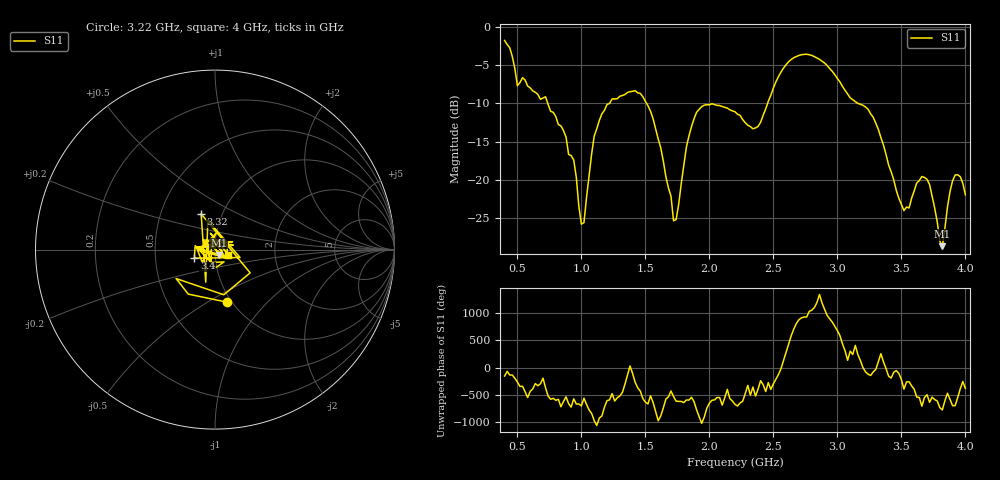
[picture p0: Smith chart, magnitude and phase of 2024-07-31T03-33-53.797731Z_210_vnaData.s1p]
!Created with skrf (http://scikit-rf.org).
# Hz S RI R 50.0
!freq ReS11 ImS11
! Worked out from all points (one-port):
!   181 points, 400 MHz to 4 GHz, reference 50 ohm
!   lowest |S11| = -28.7 dB at 3.82 GHz (marker M1), VSWR 1.08, Z = 52.1 - j3.1 ohm
!   |S11| at or under -10 dB: 737.1 MHz to 1.219 GHz (482.2 MHz wide, 49.3 % of centre); 1.51 GHz to 2.454 GHz (944.7 MHz wide, 47.7 % of centre); 3.163 GHz to end of sweep
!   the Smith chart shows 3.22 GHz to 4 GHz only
!   S11 on the Smith chart (normalised r, x): 3.22 GHz: 0.95, -0.61; 3.32 GHz: 0.80, +0.33; 3.4 GHz: 0.79, -0.08; 4 GHz: 1.16, -0.07
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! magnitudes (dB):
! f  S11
! 400 MHz  -1.7
! 500 MHz  -7.7
! 720 MHz  -9.1
! 860 MHz  -13.6
! 940 MHz  -17.4
! 1 GHz  -25.8
! 1.02 GHz  -25.6
! 1.1 GHz  -14.3
! 1.3 GHz  -9.1
! 1.52 GHz  -10.3
! 1.62 GHz  -15.8
! 1.72 GHz  -25.4
! 1.76 GHz  -23.2
! 1.82 GHz  -15.8
! 1.9 GHz  -11.2
! 2.2 GHz  -11.1
! 2.38 GHz  -13.0
! 2.66 GHz  -4.0
! 2.86 GHz  -4.2
! 3.1 GHz  -9.3
! 3.22 GHz  -10.5
! 3.32 GHz  -13.4
! 3.4 GHz  -18.1
! 3.56 GHz  -23.7
! 3.7 GHz  -20.0
! 3.82 GHz  -28.7
! 3.92 GHz  -19.4
! 4 GHz  -22.0
